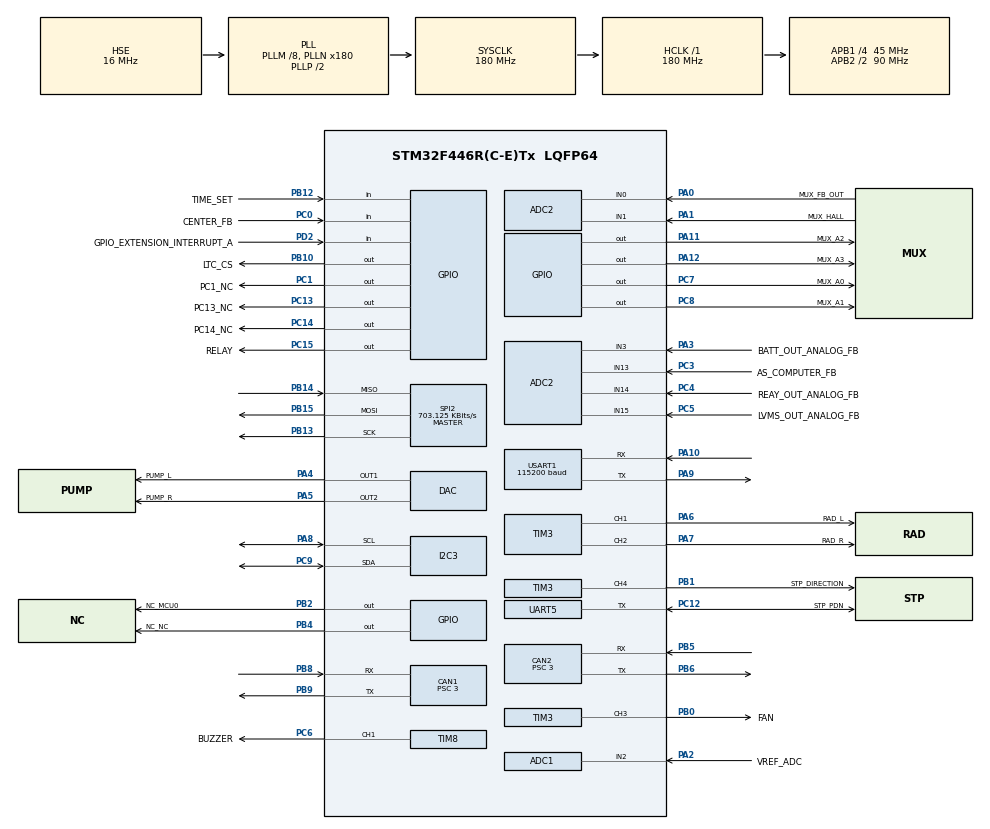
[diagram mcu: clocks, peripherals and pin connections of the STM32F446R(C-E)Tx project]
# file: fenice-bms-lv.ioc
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ADC1.Channel-0\#ChannelRegularConversion=ADC_CHANNEL_VREFINT
ADC1.Channel-1\#ChannelRegularConversion=ADC_CHANNEL_2
ADC1.ContinuousConvMode=DISABLE
ADC1.DMAContinuousRequests=ENABLE
ADC1.EOCSelection=ADC_EOC_SEQ_CONV
ADC1.ExternalTrigConv=ADC_EXTERNALTRIGCONV_T1_CC1
ADC1.NbrOfConversion=2
ADC1.NbrOfConversionFlag=1
ADC1.Rank-0\#ChannelRegularConversion=1
ADC1.Rank-1\#ChannelRegularConversion=2
ADC1.SamplingTime-0\#ChannelRegularConversion=ADC_SAMPLETIME_144CYCLES
ADC1.SamplingTime-1\#ChannelRegularConversion=ADC_SAMPLETIME_144CYCLES
ADC1.master=1
ADC2.Channel-0\#ChannelRegularConversion=ADC_CHANNEL_1
ADC2.Channel-10\#ChannelRegularConversion=ADC_CHANNEL_3
ADC2.Channel-6\#ChannelRegularConversion=ADC_CHANNEL_0
ADC2.Channel-7\#ChannelRegularConversion=ADC_CHANNEL_13
ADC2.Channel-8\#ChannelRegularConversion=ADC_CHANNEL_14
ADC2.Channel-9\#ChannelRegularConversion=ADC_CHANNEL_15
ADC2.DMAContinuousRequests=ENABLE
ADC2.EOCSelection=ADC_EOC_SEQ_CONV
ADC2.ExternalTrigConv=ADC_SOFTWARE_START
ADC2.NbrOfConversion=6
ADC2.NbrOfConversionFlag=1
ADC2.Rank-0\#ChannelRegularConversion=1
ADC2.Rank-10\#ChannelRegularConversion=6
ADC2.Rank-6\#ChannelRegularConversion=2
ADC2.Rank-7\#ChannelRegularConversion=3
ADC2.Rank-8\#ChannelRegularConversion=4
ADC2.Rank-9\#ChannelRegularConversion=5
ADC2.SamplingTime-0\#ChannelRegularConversion=ADC_SAMPLETIME_480CYCLES
ADC2.SamplingTime-10\#ChannelRegularConversion=ADC_SAMPLETIME_144CYCLES
ADC2.SamplingTime-6\#ChannelRegularConversion=ADC_SAMPLETIME_480CYCLES
ADC2.SamplingTime-7\#ChannelRegularConversion=ADC_SAMPLETIME_144CYCLES
ADC2.SamplingTime-8\#ChannelRegularConversion=ADC_SAMPLETIME_144CYCLES
ADC2.SamplingTime-9\#ChannelRegularConversion=ADC_SAMPLETIME_144CYCLES
ADC2.ScanConvMode=ENABLE
CAN1.BS1=CAN_BS1_12TQ
CAN1.BS2=CAN_BS2_2TQ
CAN1.CalculateBaudRate=1000000
CAN1.CalculateTimeBit=1000
CAN1.CalculateTimeQuantum=66.66666666666666
CAN1.Prescaler=3
CAN2.BS1=CAN_BS1_12TQ
CAN2.BS2=CAN_BS2_2TQ
CAN2.CalculateBaudRate=1000000
CAN2.CalculateTimeBit=1000
CAN2.CalculateTimeQuantum=66.66666666666666
CAN2.Prescaler=3
Dma.ADC1.1.Direction=DMA_PERIPH_TO_MEMORY
Dma.ADC1.1.FIFOMode=DMA_FIFOMODE_DISABLE
Dma.ADC1.1.Instance=DMA2_Stream4
Dma.ADC1.1.MemDataAlignment=DMA_MDATAALIGN_HALFWORD
Dma.ADC1.1.MemInc=DMA_MINC_ENABLE
Dma.ADC1.1.Mode=DMA_NORMAL
Dma.ADC1.1.PeriphDataAlignment=DMA_PDATAALIGN_HALFWORD
Dma.ADC1.1.PeriphInc=DMA_PINC_DISABLE
Dma.ADC1.1.Priority=DMA_PRIORITY_LOW
Dma.ADC2.0.Direction=DMA_PERIPH_TO_MEMORY
Dma.ADC2.0.FIFOMode=DMA_FIFOMODE_DISABLE
Dma.ADC2.0.Instance=DMA2_Stream2
Dma.ADC2.0.MemDataAlignment=DMA_MDATAALIGN_HALFWORD
Dma.ADC2.0.MemInc=DMA_MINC_ENABLE
Dma.ADC2.0.Mode=DMA_CIRCULAR
Dma.ADC2.0.PeriphDataAlignment=DMA_PDATAALIGN_HALFWORD
Dma.ADC2.0.PeriphInc=DMA_PINC_DISABLE
Dma.ADC2.0.Priority=DMA_PRIORITY_LOW
Dma.Request0=ADC2
Dma.Request1=ADC1
Mcu.Family=STM32F4
Mcu.Name=STM32F446R(C-E)Tx
Mcu.Package=LQFP64
NVIC.ADC_IRQn=true\:0\:0\:false\:false\:true\:true\:true\:true
NVIC.CAN1_RX0_IRQn=true\:0\:0\:false\:false\:true\:true\:true\:true
NVIC.CAN1_RX1_IRQn=true\:0\:0\:false\:false\:true\:true\:true\:true
NVIC.CAN1_SCE_IRQn=true\:0\:0\:false\:false\:true\:true\:true\:true
NVIC.CAN2_RX0_IRQn=true\:0\:0\:false\:false\:true\:true\:true\:true
NVIC.CAN2_RX1_IRQn=true\:0\:0\:false\:false\:true\:true\:true\:true
NVIC.CAN2_SCE_IRQn=true\:0\:0\:false\:false\:true\:true\:true\:true
NVIC.DMA2_Stream2_IRQn=true\:0\:0\:false\:false\:true\:false\:true\:true
NVIC.DMA2_Stream4_IRQn=true\:0\:0\:false\:false\:true\:false\:true\:true
NVIC.PriorityGroup=NVIC_PRIORITYGROUP_4
NVIC.TIM1_UP_TIM10_IRQn=true\:0\:0\:false\:false\:true\:true\:true\:true
NVIC.TIM2_IRQn=true\:0\:0\:false\:false\:true\:true\:true\:true
NVIC.TIM4_IRQn=true\:0\:0\:false\:false\:true\:true\:true\:true
NVIC.TIM5_IRQn=true\:0\:0\:false\:false\:true\:true\:true\:true
NVIC.TIM6_DAC_IRQn=true\:0\:0\:false\:false\:true\:true\:true\:true
NVIC.TIM7_IRQn=true\:0\:0\:false\:false\:true\:true\:true\:true
NVIC.TIM8_BRK_TIM12_IRQn=true\:0\:0\:false\:false\:true\:true\:true\:true
NVIC.USART1_IRQn=true\:0\:0\:false\:false\:true\:true\:true\:true
PA0-WKUP.GPIO_Label=MUX_FB_OUT
PA0-WKUP.Signal=ADCx_IN0
PA1.GPIO_Label=MUX_HALL
PA1.Signal=ADCx_IN1
PA10.Mode=Asynchronous
PA10.Signal=USART1_RX
PA11.GPIO_Label=MUX_A2
PA11.Signal=GPIO_Output
PA12.GPIO_Label=MUX_A3
PA12.Signal=GPIO_Output
PA13.Mode=Serial_Wire
PA13.Signal=SYS_JTMS-SWDIO
PA14.Mode=Serial_Wire
PA14.Signal=SYS_JTCK-SWCLK
PA2.GPIO_Label=VREF_ADC
PA2.Signal=ADCx_IN2
PA3.GPIO_Label=BATT_OUT_ANALOG_FB
PA3.Signal=ADCx_IN3
PA4.GPIO_Label=PUMP_L
PA4.Signal=COMP_DAC1_group
PA5.GPIO_Label=PUMP_R
PA5.Signal=COMP_DAC2_group
PA6.GPIO_Label=RAD_L
PA6.Signal=S_TIM3_CH1
PA7.GPIO_Label=RAD_R
PA7.Signal=S_TIM3_CH2
PA8.Mode=I2C
PA8.Signal=I2C3_SCL
PA9.Mode=Asynchronous
PA9.Signal=USART1_TX
PB0.GPIO_Label=FAN
PB0.Signal=S_TIM3_CH3
PB1.GPIO_Label=STP_DIRECTION
PB1.Signal=S_TIM3_CH4
PB10.GPIO_Label=LTC_CS
PB10.Signal=GPIO_Output
PB12.GPIO_Label=TIME_SET
PB12.Signal=GPIO_Input
PB13.Mode=Full_Duplex_Master
PB13.Signal=SPI2_SCK
PB14.Mode=Full_Duplex_Master
PB14.Signal=SPI2_MISO
PB15.Mode=Full_Duplex_Master
PB15.Signal=SPI2_MOSI
PB2.GPIO_Label=NC_MCU0
PB2.Signal=GPIO_Output
PB3.Signal=SYS_JTDO-SWO
PB4.GPIO_Label=NC_NC
PB4.Signal=GPIO_Output
PB5.Mode=CAN_Activate
PB5.Signal=CAN2_RX
PB6.Mode=CAN_Activate
PB6.Signal=CAN2_TX
PB7.GPIO_Label=STP_STEP
PB7.Signal=S_TIM4_CH2
PB8.Mode=CAN_Activate
PB8.Signal=CAN1_RX
PB9.Mode=CAN_Activate
PB9.Signal=CAN1_TX
PC0.GPIO_Label=CENTER_FB
PC0.Signal=GPIO_Input
PC1.GPIO_Label=PC1_NC
PC1.Signal=GPIO_Output
PC12.GPIO_Label=STP_PDN
PC12.Mode=Half_duplex(single_wire_mode)
PC12.Signal=UART5_TX
PC13.GPIO_Label=PC13_NC
PC13.Signal=GPIO_Output
PC14-OSC32_IN.GPIO_Label=PC14_NC
PC14-OSC32_IN.Signal=GPIO_Output
PC15-OSC32_OUT.GPIO_Label=RELAY
PC15-OSC32_OUT.Signal=GPIO_Output
PC3.GPIO_Label=AS_COMPUTER_FB
PC3.Signal=ADCx_IN13
PC4.GPIO_Label=REAY_OUT_ANALOG_FB
PC4.Signal=ADCx_IN14
PC5.GPIO_Label=LVMS_OUT_ANALOG_FB
PC5.Signal=ADCx_IN15
PC6.GPIO_Label=BUZZER
PC6.Signal=S_TIM8_CH1
PC7.GPIO_Label=MUX_A0
PC7.Signal=GPIO_Output
PC8.GPIO_Label=MUX_A1
PC8.Signal=GPIO_Output
PC9.Mode=I2C
PC9.Signal=I2C3_SDA
PD2.GPIO_Label=GPIO_EXTENSION_INTERRUPT_A
PD2.Signal=GPIO_Input
PH0-OSC_IN.Mode=HSE-External-Oscillator
PH0-OSC_IN.Signal=RCC_OSC_IN
PH1-OSC_OUT.Mode=HSE-External-Oscillator
PH1-OSC_OUT.Signal=RCC_OSC_OUT
ProjectManager.HeapSize=0x200
ProjectManager.StackSize=0x400
ProjectManager.TargetToolchain=Makefile
RCC.AHBFreq_Value=180000000
RCC.APB1CLKDivider=RCC_HCLK_DIV4
RCC.APB1Freq_Value=45000000
RCC.APB1TimFreq_Value=90000000
RCC.APB2CLKDivider=RCC_HCLK_DIV2
RCC.APB2Freq_Value=90000000
RCC.APB2TimFreq_Value=180000000
RCC.CortexFreq_Value=180000000
RCC.HCLKFreq_Value=180000000
RCC.HSE_VALUE=16000000
RCC.PLLM=8
RCC.PLLN=180
RCC.PLLSourceVirtual=RCC_PLLSOURCE_HSE
RCC.SYSCLKFreq_VALUE=180000000
RCC.SYSCLKSource=RCC_SYSCLKSOURCE_PLLCLK
RCC.USBFreq_Value=180000000
RCC.VCOOutputFreq_Value=360000000
SH.ADCx_IN0.0=ADC2_IN0,IN0
SH.ADCx_IN1.0=ADC2_IN1,IN1
SH.ADCx_IN13.0=ADC2_IN13,IN13
SH.ADCx_IN14.0=ADC2_IN14,IN14
SH.ADCx_IN15.0=ADC2_IN15,IN15
SH.ADCx_IN2.0=ADC1_IN2,IN2
SH.ADCx_IN3.0=ADC2_IN3,IN3
SH.COMP_DAC1_group.0=DAC_OUT1,DAC_OUT1
SH.COMP_DAC2_group.0=DAC_OUT2,DAC_OUT2
SH.S_TIM3_CH1.0=TIM3_CH1,PWM Generation1 CH1
SH.S_TIM3_CH2.0=TIM3_CH2,PWM Generation2 CH2
SH.S_TIM3_CH3.0=TIM3_CH3,PWM Generation3 CH3
SH.S_TIM3_CH4.0=TIM3_CH4,PWM Generation4 CH4
SH.S_TIM4_CH2.0=TIM4_CH2
SH.S_TIM8_CH1.0=TIM8_CH1,PWM Generation1 CH1
SPI2.BaudRatePrescaler=SPI_BAUDRATEPRESCALER_64
SPI2.CLKPhase=SPI_PHASE_2EDGE
SPI2.CLKPolarity=SPI_POLARITY_HIGH
SPI2.CalculateBaudRate=703.125 KBits/s
SPI2.Direction=SPI_DIRECTION_2LINES
SPI2.Mode=SPI_MODE_MASTER
SPI2.VirtualType=VM_MASTER
TIM1.Channel-PWM\ Generation1\ No\ Output=TIM_CHANNEL_1
TIM1.Period=100 - 1
TIM1.Prescaler=90 - 1
TIM1.Pulse-PWM\ Generation1\ No\ Output=50 - 1
TIM10.Period=500 - 1
TIM10.Prescaler=180 - 1
TIM2.Channel-Output\ Compare1\ No\ Output=TIM_CHANNEL_1
TIM2.Channel-Output\ Compare2\ No\ Output=TIM_CHANNEL_2
TIM2.Channel-Output\ Compare3\ No\ Output=TIM_CHANNEL_3
TIM2.Channel-Output\ Compare4\ No\ Output=TIM_CHANNEL_4
TIM2.Prescaler=8999
TIM3.Channel-PWM\ Generation1\ CH1=TIM_CHANNEL_1
TIM3.Channel-PWM\ Generation2\ CH2=TIM_CHANNEL_2
TIM3.Channel-PWM\ Generation3\ CH3=TIM_CHANNEL_3
TIM3.Channel-PWM\ Generation4\ CH4=TIM_CHANNEL_4
TIM3.OCFastMode_PWM-PWM\ Generation1\ CH1=TIM_OCFAST_ENABLE
TIM3.OCFastMode_PWM-PWM\ Generation2\ CH2=TIM_OCFAST_ENABLE
TIM4.Channel-Output\ Compare2\ No\ Output=TIM_CHANNEL_2
TIM7.Period=1000-1
TIM7.Prescaler=9000-1
TIM8.Channel-PWM\ Generation1\ CH1=TIM_CHANNEL_1
TIM8.Period=99
TIM8.Prescaler=83
UART5.VirtualMode=Asynchronous
USART1.BaudRate=115200
USART1.VirtualMode=VM_ASYNC
VP_ADC1_Vref_Input.Mode=IN-Vrefint
VP_TIM10_VS_ClockSourceINT.Mode=Enable_Timer
VP_TIM1_VS_no_output1.Mode=PWM Generation1 No Output
VP_TIM2_VS_ClockSourceINT.Mode=Internal
VP_TIM2_VS_no_output1.Mode=Output Compare1 No Output
VP_TIM2_VS_no_output2.Mode=Output Compare2 No Output
VP_TIM2_VS_no_output3.Mode=Output Compare3 No Output
VP_TIM2_VS_no_output4.Mode=Output Compare4 No Output
VP_TIM3_VS_ClockSourceINT.Mode=Internal
VP_TIM4_VS_no_output2.Mode=Output Compare2 No Output
VP_TIM5_VS_ClockSourceINT.Mode=Internal
VP_TIM7_VS_ClockSourceINT.Mode=Enable_Timer
VP_TIM8_VS_ClockSourceINT.Mode=Internal
board=custom

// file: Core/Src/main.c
/* USER CODE BEGIN Header */
/**
 ******************************************************************************
 * @file           : main.c
 * @brief          : Main program body
 ******************************************************************************
 * @attention
 *
 * <h2><center>&copy; Copyright (c) 2020 STMicroelectronics.
 * All rights reserved.</center></h2>
 *
 * This software component is licensed by ST under Ultimate Liberty license
 * SLA0044, the "License"; You may not use this file except in compliance with
 * the License. You may obtain a copy of the License at:
 *                             www.st.com/SLA0044
 *
 ******************************************************************************
 */
/* USER CODE END Header */
#include "main.h"

#include "can.h"
#include "dac.h"
#include "gpio.h"
#include "i2c.h"
#include "spi.h"
#include "tim.h"
#include "usart.h"

/* USER CODE BEGIN Includes */
#include "adc.h"
#include "can_comm.h"
#include "cli_bms_lv.h"
#include "common.h"
#include "current_sensor.h"
#include "current_transducer.h"
#include "dac_pump.h"
#include "dma.h"
#include "error.h"
#include "fenice-config.h"
#include "health_signals.h"
#include "inverters.h"
#include "mcp23017.h"
#include "measurements.h"
#include "monitor_int.h"
#include "notes_buzzer.h"
#include "pwm.h"
#include "radiator.h"
#include "stdio.h"
#include "string.h"
#include "thermocouple.h"
#include "timer_utils.h"
/* USER CODE END Includes */

/* USER CODE BEGIN PTD */

/*----------------------------------- ERRORS ---------------------------------*/

bool is_bms_on_fault                   = false;
bool is_relay_closed                   = false;
bool is_lvms_closed_for_the_first_time = false;
/* USER CODE END PTD */

/* USER CODE BEGIN PV */
Inverters_struct car_inverters;
/* USER CODE END PV */

void SystemClock_Config(void);
/* USER CODE BEGIN PFP */
void bms_error_state();
void cooling_routine();
void lv_under_v_alert();
void check_lvms();
static inline void check_initial_voltage();
static inline void fans_radiators_pumps_init();
void set_flash_pin();
/* USER CODE END PFP */

/* USER CODE BEGIN 0 */
int debug_flag  = 0;
int m_sec_timer = 0;

HAL_StatusTypeDef status;
char main_buff[500];
float bms_fan_duty_cycle = 0.8;
bool cooling_update      = false;
uint32_t init_timer;
/* USER CODE END 0 */

int main(void) {

    /* MCU Configuration--------------------------------------------------------*/

    /* Reset of all peripherals, Initializes the Flash interface and the Systick. */
    HAL_Init();

    /* Configure the system clock */
    SystemClock_Config();

    /* Initialize all configured peripherals */
    MX_GPIO_Init();
    MX_CAN2_Init();
    MX_DAC_Init();
    MX_I2C3_Init();
    MX_SPI2_Init();
    MX_TIM2_Init();
    MX_TIM3_Init();
    MX_USART1_UART_Init();
    MX_CAN1_Init();
    MX_TIM8_Init();
    MX_TIM5_Init();
    MX_TIM7_Init();
    MX_TIM4_Init();
    MX_UART5_Init();
    MX_TIM10_Init();
    MX_TIM1_Init();
    /* USER CODE BEGIN 2 */
    /* USER CODE BEGIN 2 */

    //  MX_DMA_Init() must be executed before MX_ADC_Init() otherwise the ADC doesnt' work in DMA mode correctly
    //  but since __CUBEMIX e' stronzo__(cit.), this isn't enforced by the code generator
    //  threfore manual intervention is necessary
    //  https://community.st.com/s/question/0D50X0000ALudz8SQB/how-to-enable-adc-continuous-mode-with-dma

    MX_DMA_Init();
    MX_ADC1_Init();
    MX_ADC2_Init();

    // Usefull if it's necessary to stop the timer counter when debugging
#ifdef DEBUG_TIMER_MCU
    DBGMCU->APB2FZ = DBGMCU_APB2_FZ_DBG_TIM10_STOP;
#endif

    // START OF WARM UP STAGE
    lv_status.status = PRIMARY_LV_STATUS_STATUS_INIT_CHOICE;
    // Turn on startup button
    // TODO: change button pin

    // Blink to signal correct MX_XXX_init processes (usuefull for CAN transciever)
    cli_bms_lv_init();
    error_init();
    health_init(&hs);

    //Init ADC related stuff
    ADC_init_status_flags();
    ADC_init_mux();
    ADC_Vref_Calibration();
    ADC_start_ADC2_readings();

    monitor_init();

    init_inverter_struct(&car_inverters);
    //Init feedbacks chip
    mcp23017_basic_config_init(&hmcp, &hi2c3);
    radiator_init();
    dac_pump_handle_init(&hdac_pump, 0.0, 0.0);
    dac_pump_store_and_set_value_on_both_channels(&hdac_pump, 0.0, 0.0);

    // Buzzer congiguration
    pwm_set_period(&BZZR_HTIM, 1);
    pwm_set_duty_cicle(&BZZR_HTIM, BZZR_PWM_TIM_CHNL, 0.25);

    // Other fan, set at 25 KHz
    // pwm_set_period(&INTERNAL_FAN_HTIM, 0.04);
    // pwm_set_duty_cicle(&INTERNAL_FAN_HTIM, INTERNAL_FAN_PWM_TIM_CHNL, 0.9);
    // pwm_start_channel(&INTERNAL_FAN_HTIM, INTERNAL_FAN_PWM_TIM_CHNL);
    // pwm_start_channel(&BZZR_HTIM, BZZR_PWM_TIM_CHNL);

    // Keeps SPI CS high
    // ltc6810_disable_cs(&SPI);
#ifdef DEBUG_LTC_ID
    sprintf(main_buff, "LTC ID %s", ltc6810_return_serial_id());
    printl(main_buff, NO_HEADER);
#endif

    printl("Relay out disabled, waiting 0.5 seconds before reading voltages\r\n", NO_HEADER);
    HAL_Delay(500);

    check_initial_voltage();
    set_flash_pin();
    check_lvms();

    //fans_radiators_pumps_init();

    //init for both can
    can_primary_init();
    can_secondary_init();

    measurements_init(&MEASUREMENTS_TIMER);
    // END OF WARM UP STAGE

    /* USER CODE END 2 */

    /* Infinite loop */
    /* USER CODE BEGIN WHILE */
    init_timer = HAL_GetTick();
    mcp23017_set_gpio(&hmcp, MCP23017_PORTB, LED_R, 1);
    if (lv_status.status == PRIMARY_LV_STATUS_STATUS_INIT_CHOICE) {
        lv_status.status = PRIMARY_LV_STATUS_STATUS_RUN_CHOICE;
    }

    //start timer for cooling routine
    HAL_TIM_Base_Start_IT(&htim7);
    //static bool first = true;
    while (1) {
        // Running stage
        if (lv_status.status == PRIMARY_LV_STATUS_STATUS_ERROR_CHOICE) {
            bms_error_state();
        } else {
            ADC_Routine();
            if (HAL_GetTick() - init_timer > 2000) {
                measurements_flags_check();
            }

            inverters_loop(&car_inverters);
            if (lv_thresholds_handler.first_threshold_reached || lv_thresholds_handler.second_threshold_reached) {
                lv_under_v_alert();
            }
            if (cooling_update) {
                cooling_routine();
                cooling_update = false;
            }
            cli_loop(&cli_bms_lv);
        }
    }
    /* USER CODE END WHILE */

    /* USER CODE BEGIN 3 */
    // }
    /* USER CODE END 3 */
}

void SystemClock_Config(void) {
    RCC_OscInitTypeDef RCC_OscInitStruct = {0};
    RCC_ClkInitTypeDef RCC_ClkInitStruct = {0};

    /** Configure the main internal regulator output voltage
  */
    __HAL_RCC_PWR_CLK_ENABLE();
    __HAL_PWR_VOLTAGESCALING_CONFIG(PWR_REGULATOR_VOLTAGE_SCALE1);
    /** Initializes the RCC Oscillators according to the specified parameters
  * in the RCC_OscInitTypeDef structure.
  */
    RCC_OscInitStruct.OscillatorType = RCC_OSCILLATORTYPE_HSE;
    RCC_OscInitStruct.HSEState       = RCC_HSE_ON;
    RCC_OscInitStruct.PLL.PLLState   = RCC_PLL_ON;
    RCC_OscInitStruct.PLL.PLLSource  = RCC_PLLSOURCE_HSE;
    RCC_OscInitStruct.PLL.PLLM       = 8;
    RCC_OscInitStruct.PLL.PLLN       = 180;
    RCC_OscInitStruct.PLL.PLLP       = RCC_PLLP_DIV2;
    RCC_OscInitStruct.PLL.PLLQ       = 2;
    RCC_OscInitStruct.PLL.PLLR       = 2;
    if (HAL_RCC_OscConfig(&RCC_OscInitStruct) != HAL_OK) {
        Error_Handler();
    }
    /** Activate the Over-Drive mode
  */
    if (HAL_PWREx_EnableOverDrive() != HAL_OK) {
        Error_Handler();
    }
    /** Initializes the CPU, AHB and APB buses clocks
  */
    RCC_ClkInitStruct.ClockType = RCC_CLOCKTYPE_HCLK | RCC_CLOCKTYPE_SYSCLK | RCC_CLOCKTYPE_PCLK1 | RCC_CLOCKTYPE_PCLK2;
    RCC_ClkInitStruct.SYSCLKSource   = RCC_SYSCLKSOURCE_PLLCLK;
    RCC_ClkInitStruct.AHBCLKDivider  = RCC_SYSCLK_DIV1;
    RCC_ClkInitStruct.APB1CLKDivider = RCC_HCLK_DIV4;
    RCC_ClkInitStruct.APB2CLKDivider = RCC_HCLK_DIV2;

    if (HAL_RCC_ClockConfig(&RCC_ClkInitStruct, FLASH_LATENCY_5) != HAL_OK) {
        Error_Handler();
    }
}

/* USER CODE BEGIN 4 */

/* Exported functions --------------------------------------------------------*/

/**
  * @brief  RCC Clock Security System interrupt callback
  * @retval None
  */
void HAL_RCC_CSSCallback(void) {
    //TODO change into something meaningfull
    for (int i = 0; i < 3; i++) {
        //HAL_GPIO_TogglePin(LED_ERR_GPIO_Port, LED_ERR_Pin);
        HAL_Delay(100);
    }
}
/* Private functions =--------------------------------------------------------*/

/**
 * @brief Checks if total voltage is above MIN_POWER_ON_VOLTAGE within VOLT_MAX_ATTEMPTS times
 * If total voltage is above the minimum level required the buzzer starts up for BUZZER_ALARM_TIME
 *
 */
static inline void check_initial_voltage() {
    sprintf(main_buff, "Checking if total voltage on board is above %.2fV", MIN_POWER_ON_VOLTAGE);
    for (uint8_t i = 0; i < VOLT_MAX_ATTEMPTS; i++) {
        sprintf(main_buff, "Closing relay phase: attempt %d of %d", i + 1, VOLT_MAX_ATTEMPTS);
        printl(main_buff, NO_HEADER);
        if (monitor_print_volt() == VOLT_OK) {
            printl("Relay on", NORM_HEADER);
            LV_MASTER_RELAY_set_state(GPIO_PIN_SET, true);
            i = VOLT_MAX_ATTEMPTS;
            printl("DONE!\r\n", NORM_HEADER);
            is_relay_closed = true;
        }
        HAL_Delay(200);
    }

    if (volt_status != VOLT_OK) {
        error_set(ERROR_RELAY, 0);
        //is_bms_on_fault = true;
    } else {
        error_reset(ERROR_RELAY, 0);
    }
}

/**
 * @brief Initialize internal fan, pumps and radiator with standard value
 * Also set/reset the relative errors
 *
 */
static inline void fans_radiators_pumps_init() {
    // if (FDBK_12V_FANS_get_state()) {
    //     pwm_start_channel(&INTERNAL_FAN_HTIM, INTERNAL_FAN_PWM_TIM_CHNL);
    //     error_reset(ERROR_FAN, 0);
    // } else {
    //     error_set(ERROR_FAN, 0);
    // }

    // if (FDBK_12V_RADIATORS_get_state()) {
    //     start_both_radiator(&RAD_R_HTIM, RAD_L_PWM_TIM_CHNL, RAD_R_PWM_TIM_CHNL);
    //     error_reset(ERROR_RADIATOR, 0);
    // } else {
    //     error_set(ERROR_RADIATOR, 0);
    // }
    // if (FDBK_24V_PUMPS_get_state()) {
    //     dac_pump_handle_init(&hdac_pump, 0.0, 0.0);
    //     error_reset(ERROR_PUMP, 0);
    // } else {
    //     error_set(ERROR_PUMP, 0);
    // }
#ifdef PUMP_SAMPLE_TEST
    if (FDBK_24V_PUMPS_get_state()) {
        dac_pump_sample_test(&hdac_pump);
    }
#endif
}

/**
 * @brief Error routine executed when the bms is on fault
 *
 */
void bms_error_state() {
#define ERR_NOISE
#ifdef ERR_NOISE
    pwm_set_period(&BZZR_HTIM, 0.8);
    pwm_set_duty_cicle(&BZZR_HTIM, BZZR_PWM_TIM_CHNL, 0.9);
    pwm_start_channel(&BZZR_HTIM, BZZR_PWM_TIM_CHNL);
#endif
    printl("ERROR STATE \n", ERR_HEADER);

    char out[4000];
    size_t count = 0;
    error_t errors[ERROR_NUM_ERRORS];
    bool lvms_reset = false;
    error_dump(errors, &count);

    uint32_t now = HAL_GetTick();
    sprintf(out, "total %u\r\n", count);
    for (uint16_t i = 0; i < count; i++) {
        sprintf(
            out + strlen(out),
            "\r\nid..........%i (%s)\r\n"
            "timestamp...T+%lu (%lums ago)\r\n"
            "offset......%u\r\n"
            "state.......%s\r\n",
            errors[i].id,
            error_names[errors[i].id],
            errors[i].timestamp,
            now - errors[i].timestamp,
            errors[i].offset,
            errors[i].state == STATE_WARNING ? "warning" : "fatal");
    }
    printl(out, ERR_HEADER);

    can_primary_send(PRIMARY_LV_ERRORS_FRAME_ID, 0);
    can_primary_send(PRIMARY_LV_HEALTH_SIGNALS_FRAME_ID, 0);
    can_primary_send(PRIMARY_LV_STATUS_FRAME_ID, 0);
    HAL_GPIO_WritePin(TIME_SET_GPIO_Port, TIME_SET_Pin, GPIO_PIN_RESET);
    while (HAL_GetTick() - now < 5000) {
        ADC_Routine();
        measurements_flags_check();
        if (!lvms_reset && adcs_converted_values.lvms_out < HIGH_LEVEL_BITSET_THRESHOLD_SCALED) {
            lvms_reset = true;
        }

        if (lvms_reset && adcs_converted_values.lvms_out > HIGH_LEVEL_BITSET_THRESHOLD_SCALED) {
            HAL_GPIO_WritePin(TIME_SET_GPIO_Port, TIME_SET_Pin, GPIO_PIN_SET);
            HAL_Delay(500);
            HAL_NVIC_SystemReset();
        }
    }

    // ERROR stage
    mcp23017_set_gpio(&hmcp, MCP23017_PORTB, LED_R, 0);
    mcp23017_set_gpio(&hmcp, MCP23017_PORTB, LED_G, 1);
    LV_MASTER_RELAY_set_state(GPIO_PIN_RESET, true);
    is_relay_closed = false;
    error_state_inverters(&car_inverters);
    while (1) {
        ADC_Routine();
        // measure and sends via can
        measurements_flags_check();
        cli_loop(&cli_bms_lv);
    }
}

void lv_under_v_alert() {
    uint32_t current_time = HAL_GetTick();
    pwm_set_period(&BZZR_HTIM, 0.4);
    pwm_set_duty_cicle(&BZZR_HTIM, BZZR_PWM_TIM_CHNL, 0.8);
    if (!lv_thresholds_handler.second_threshold_reached && lv_thresholds_handler.first_threshold_reached &&
        lv_thresholds_handler.first_ths_buzzer_toggles < MAX_BZR_LV_ALERTS) {
        if (lv_thresholds_handler.first_ths_buzzer_toggles % 2 == 0) {
            pwm_start_channel(&BZZR_HTIM, BZZR_PWM_TIM_CHNL);
        } else {
            pwm_stop_channel(&BZZR_HTIM, BZZR_PWM_TIM_CHNL);
        }
        if (current_time - lv_thresholds_handler.first_ths_timestamp > 1000) {
            lv_thresholds_handler.first_ths_timestamp = current_time;
            lv_thresholds_handler.first_ths_buzzer_toggles++;
        }
    }
    if (lv_thresholds_handler.second_threshold_reached &&
        lv_thresholds_handler.second_ths_buzzer_toggles < MAX_BZR_LV_ALERTS) {
        if (lv_thresholds_handler.second_ths_buzzer_toggles % 2 == 0) {
            pwm_start_channel(&BZZR_HTIM, BZZR_PWM_TIM_CHNL);
        } else {
            pwm_stop_channel(&BZZR_HTIM, BZZR_PWM_TIM_CHNL);
        }
        if (current_time - lv_thresholds_handler.second_ths_timestamp > 1000) {
            lv_thresholds_handler.second_ths_timestamp = current_time;
            lv_thresholds_handler.second_ths_buzzer_toggles++;
        }
    }
}

void check_lvms() {
    uint32_t lvms_check_timestamp = HAL_GetTick();
    while ((HAL_GetTick() - lvms_check_timestamp) < 1000) {
        ADC_Routine();
    }

    lvms_out_conversion();

    if (adcs_converted_values.lvms_out > HIGH_LEVEL_BITSET_THRESHOLD_SCALED) {
        pwm_start_channel(&BZZR_HTIM, BZZR_PWM_TIM_CHNL);
        HAL_Delay(BUZZER_ALARM_TIME);
        pwm_stop_channel(&BZZR_HTIM, BZZR_PWM_TIM_CHNL);
        mcp23017_set_gpio(&hmcp, MCP23017_PORTB, LED_R, 1);
    } else {
        LV_MASTER_RELAY_set_state(GPIO_PIN_RESET, true);
    }
}

/**
 * @brief Cooling routine of the car and internal BMS
 * Set values for: internal fan, radiators, pumps
 *
 */
void cooling_routine() {
    float local_rad_speed, local_pump_speed;
    float temp = 0;
    float max_inv_temp =
        (car_inverters.inv_temps[0] > car_inverters.inv_temps[1] ? car_inverters.inv_temps[0]
                                                                 : car_inverters.inv_temps[1]);
    float max_motor_temp =
        (car_inverters.motor_temps[0] > car_inverters.motor_temps[1] ? car_inverters.motor_temps[0]
                                                                     : car_inverters.motor_temps[1]);

    temp = (max_inv_temp > max_motor_temp ? max_inv_temp : max_motor_temp);
#ifndef INTERNAL_FAN_DEBUG
    //bms_fan_duty_cycle = (INTERNAL_FAN_Q_FACTOR + (max_dcdc_temp * INTERNAL_FAN_M_FACTOR));
#endif
    //pwm_set_duty_cicle(&INTERNAL_FAN_HTIM, INTERNAL_FAN_PWM_TIM_CHNL, 1 - bms_fan_duty_cycle);
    // pwm_set_duty_cicle(&INTERNAL_FAN_HTIM, INTERNAL_FAN_PWM_TIM_CHNL, 0.5);
    // pwm_start_channel(&INTERNAL_FAN_HTIM, INTERNAL_FAN_PWM_TIM_CHNL);
    /*
        When automatic mode == true the values are controlled by the BMS
        When automatic mode == false the values are controlled by the Steering Wheel
    */
    if (radiator_handle.automatic_mode) {
        set_radiator_duty_cycle(&RAD_L_HTIM, RAD_L_PWM_TIM_CHNL, get_radiator_duty_cycle(temp));
        set_radiator_duty_cycle(&RAD_R_HTIM, RAD_R_PWM_TIM_CHNL, get_radiator_duty_cycle(temp));
    } else {
        if (radiator_handle.update_value) {
            local_rad_speed = rads_speed_msg.radiators_speed * (MAX_RADIATOR_DUTY_CYCLE - MIN_RADIATOR_DUTY_CYCLE) +
                              MIN_RADIATOR_DUTY_CYCLE;
            if (rads_speed_msg.radiators_speed == 0) {
                local_rad_speed = 0;
            }
            // // Clipping to max duty cycle allowed to avoid overcurrent (when in combo with pumps)
            // if (local_rad_speed > MAX_RADIATOR_DUTY_CYCLE) {
            //     local_rad_speed = MAX_RADIATOR_DUTY_CYCLE;
            // }
            // // Clipping to minimum duty cycle allowed to spin the radiator
            // else if (local_rad_speed < MIN_RADIATOR_DUTY_CYCLE) {
            //     local_rad_speed = MIN_RADIATOR_DUTY_CYCLE;
            // }

            set_radiator_duty_cycle(&RAD_L_HTIM, RAD_L_PWM_TIM_CHNL, local_rad_speed);
            set_radiator_duty_cycle(&RAD_R_HTIM, RAD_R_PWM_TIM_CHNL, local_rad_speed);
            radiator_handle.update_value = false;
        }
    }

    if (hdac_pump.automatic_mode) {
        dac_pump_store_and_set_value_on_both_channels(
            &hdac_pump, dac_pump_get_voltage(temp), dac_pump_get_voltage(temp));
    } else {
        if (hdac_pump.update_value) {
            local_pump_speed = pumps_speed_msg.pumps_speed * (MAX_OPAMP_OUT - MIN_OPAMP_OUT) + MIN_OPAMP_OUT;

            if (pumps_speed_msg.pumps_speed == 0) {
                local_pump_speed = 0;
            }
            // Clipping to max duty cycle allowed to avoid overcurrent (when in combo with pumps)
            // if (local_pump_speed > MAX_OPAMP_OUT) {
            //     local_pump_speed = MAX_OPAMP_OUT;
            // }
            // // Clipping to minimum duty cycle allowed to spin the radiator
            // else if (local_pump_speed < MIN_OPAMP_OUT) {
            //     local_pump_speed = MIN_OPAMP_OUT;
            // }
            //dac_pump_store_and_set_value_on_both_channels(&hdac_pump, local_pump_speed, local_pump_speed);
            dac_pump_store_and_set_value_on_both_channels(&hdac_pump, local_pump_speed, local_pump_speed);

            hdac_pump.update_value = false;
        }
    }
}

void set_flash_pin() {
    GPIO_InitTypeDef GPIO_InitStruct = {0};
    HAL_GPIO_WritePin(TIME_SET_GPIO_Port, TIME_SET_Pin, GPIO_PIN_RESET);
    GPIO_InitStruct.Pin   = TIME_SET_Pin;
    GPIO_InitStruct.Mode  = GPIO_MODE_OUTPUT_PP;
    GPIO_InitStruct.Pull  = GPIO_NOPULL;
    GPIO_InitStruct.Speed = GPIO_SPEED_FREQ_LOW;
    HAL_GPIO_Init(TIME_SET_GPIO_Port, &GPIO_InitStruct);
}

/* USER CODE END 4 */

void Error_Handler(void) {
    /* USER CODE BEGIN Error_Handler_Debug */
    /* User can add his own implementation to report the HAL error return state
        */
    /*if (HAL_ADC_Init(&CURRENT_TRANSDUCER_HADC) != HAL_OK || HAL_ADC_Init(&T_SENS_BATT1_HADC) != HAL_OK) {
        error_set(ERROR_ADC_INIT, 0, HAL_GetTick());
    }*/
    /* USER CODE END Error_Handler_Debug */
}

#ifdef USE_FULL_ASSERT
/**
  * @brief  Reports the name of the source file and the source line number
  *         where the assert_param error has occurred.
  * @param  file: pointer to the source file name
  * @param  line: assert_param error line source number
  * @retval None
  */
void assert_failed(uint8_t *file, uint32_t line) {
    /* USER CODE BEGIN 6 */
    /* User can add his own implementation to report the file name and line
        number, tex: printf("Wrong parameters value: file %s on line %d\r\n",
            file, line) */
    /* USER CODE END 6 */
}
#endif /* USE_FULL_ASSERT */
